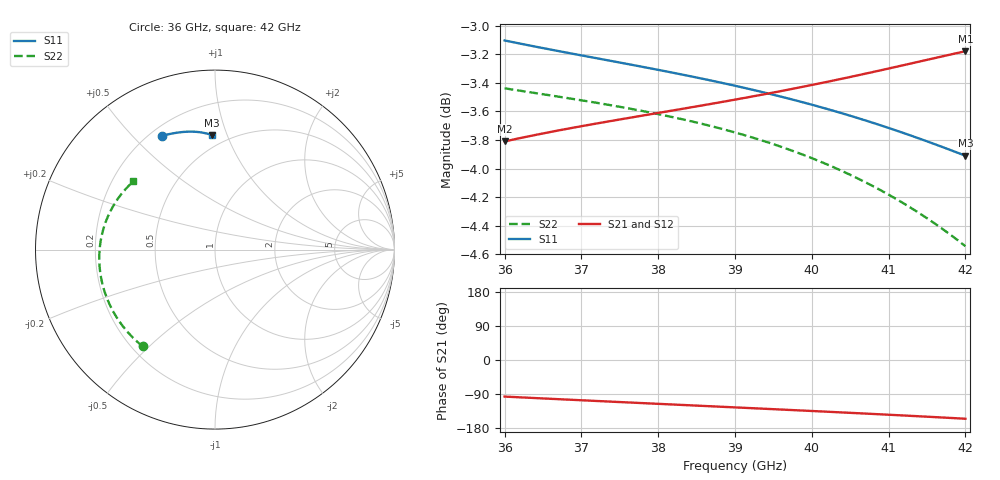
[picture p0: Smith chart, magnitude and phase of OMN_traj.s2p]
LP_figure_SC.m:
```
close all
clc

LP_targets = readtable("LP_Targets_36_42_GHz.csv");
f_range = 36:1:42;
LP_Z_str = strings(1,numel(f_range));
for i = 1:numel(f_range)
    inter1 = LP_targets(:,i).Variables;
    LP_Z_str(i) = inter1{1};
end
LP_Z = zeros(1,numel(LP_Z_str));
for i = 1:numel(LP_Z_str)
    str1 = split(LP_Z_str(i)," ");
    str2 = str1(3);
    imagVal = erase(str2,"j");
    imagVal = imagVal+"i";
    if str1(2) == "+"
        cmplxZ = str2double(str1(1)) + str2double(imagVal);
    else
        cmplxZ = str2double(str1(1)) - str2double(imagVal);
    end
    LP_Z(i) = cmplxZ;
end
%%

OMN_S11 = sparameters("OMN_traj.s2p");
OMN_S11 = OMN_S11.Parameters(1,1,:);
OMN_S11 = OMN_S11(:);

%%
%finally, plot these impedances on SC
close all
plotsc(LP_Z,'Domain','Z','Z0',50,'Marker',"o",'MarkerSize',15,'LineStyle','none','LineWidth',4)
hold on
plotsc(OMN_S11,'Domain','G','Z0',50,'LineStyle','-','LineWidth',6)
legend('LP','OMN')
% pbaspect([1 0.5 1])

% fH = gcf;
% aH = fH.Children;
% pbaspect(aH(2),[0.5 1 1])
% daspect(aH(2),[0.5 1 1])
```
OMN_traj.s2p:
! Created Fri Jun 27 12:03:18 2025
# hz S ma R 50
! 2 Port Network Data from SP1.SP block
! freq  magS11  angS11  magS21  angS21  magS12  angS12  magS22  angS22
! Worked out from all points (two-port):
!   61 points, 36 GHz to 42 GHz, reference 50 ohm
!   highest |S21| = -3.18 dB at 42 GHz (marker M1); lowest = -3.8 dB at 36 GHz (marker M2)
!   |S21| within 3 dB of the highest: start of sweep to end of sweep
!   lowest |S11| = -3.9 dB at 42 GHz (marker M3), VSWR 4.52, Z = 20.6 + j44.3 ohm
!   |S11| at or under -10 dB: nowhere
!   |S22| runs from -4.5 to -3.4 dB; largest |S21 - S12| = 0
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3.6e10  0.6995 115.0  0.6449 -96.6  0.6449 -96.6  0.6731 -126.8
3.68e10  0.6928 111.9  0.6513 -104.3  0.6513 -104.3  0.6679 -139.3
3.75e10  0.6872 109.2  0.6564 -111.0  0.6564 -111.0  0.6631 -149.9
3.83e10  0.6806 106.0  0.6619 -118.5  0.6619 -118.5  0.6566 -161.8
3.9e10  0.6744 103.1  0.667 -125.1  0.667 -125.1  0.6496 -172.0
3.94e10  0.6706 101.5  0.67 -128.8  0.67 -128.8  0.6448 -177.8
3.98e10  0.6664 99.9  0.6732 -132.6  0.6732 -132.6  0.6393 176.2
4.05e10  0.6584 97.0  0.6792 -139.4  0.6792 -139.4  0.6278 165.6
4.09e10  0.6533 95.5  0.6829 -143.4  0.6829 -143.4  0.6199 159.3
4.13e10  0.6478 93.9  0.6867 -147.5  0.6867 -147.5  0.6111 152.6
4.2e10  0.6375 91.4  0.6935 -155.0  0.6935 -155.0  0.5927 140.2
